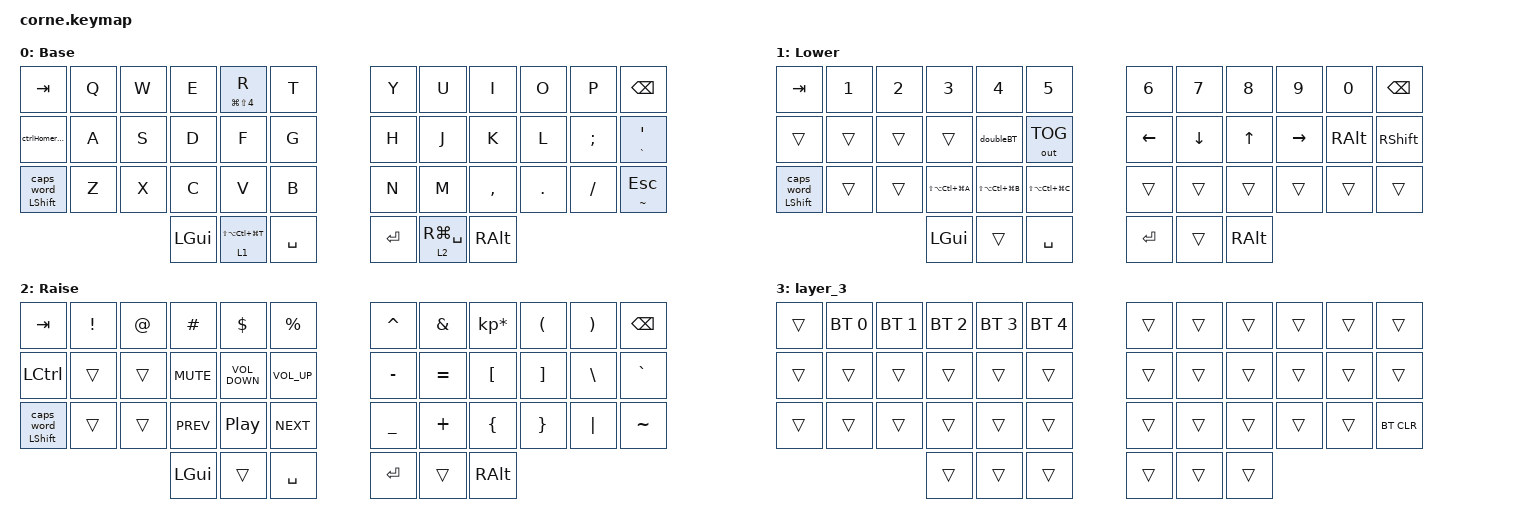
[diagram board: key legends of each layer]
/*
 * Copyright (c) 2020 The ZMK Contributors
 *
 * SPDX-License-Identifier: MIT
 */

#include <behaviors.dtsi>
#include <dt-bindings/zmk/bt.h>
#include <dt-bindings/zmk/keys.h>
#include <dt-bindings/zmk/outputs.h>

/ {
    combos {
        compatible = "zmk,combos";

        escape {
            bindings = <&kp ESCAPE>;
            key-positions = <19 20>;
        };

        telegram {
            bindings = <&kp LS(LA(LC(LG(E))))>;
            key-positions = <38 37>;
        };

        esc-left {
            bindings = <&kp ESC>;
            key-positions = <16 15>;
        };

        del_word {
            bindings = <&kp RA(BACKSPACE)>;
            key-positions = <18 19 20>;
        };

        backspace {
            bindings = <&kp BACKSPACE>;
            key-positions = <19 20 21>;
        };

        leftBLOCK {
            bindings = <&kp LEFT_BRACKET>;
            key-positions = <5 4>;
        };

        rightBrk {
            bindings = <&kp RIGHT_BRACKET>;
            key-positions = <6 7>;
        };

        leftPar {
            bindings = <&kp LEFT_PARENTHESIS>;
            key-positions = <16 17>;
        };

        rightPar {
            bindings = <&kp RPAR>;
            key-positions = <18 19>;
        };

        leftBrace {
            bindings = <&kp LEFT_BRACE>;
            key-positions = <28 29>;
        };

        rightBrace {
            bindings = <&kp RIGHT_BRACE>;
            key-positions = <30 31>;
        };
    };

    behaviors {
        moAndKp: moAndKp {
            compatible = "zmk,behavior-hold-tap";
            label = "MOANDKP";
            bindings = <&mo>, <&kp>;

            #binding-cells = <2>;
            tapping-term-ms = <120>;
        };

        kpAndCaps: kpAndCaps {
            compatible = "zmk,behavior-hold-tap";
            label = "KPANDCAPS";
            bindings = <&kp>, <&caps_word>;

            #binding-cells = <2>;
            tapping-term-ms = <120>;
        };

        kpAndKp: kpAndKp {
            compatible = "zmk,behavior-hold-tap";
            label = "KPANDKP";
            bindings = <&kp>, <&kp>;

            #binding-cells = <2>;
            tapping-term-ms = <120>;
        };

        kpAndKpLong: kpAndKpLong {
            compatible = "zmk,behavior-hold-tap";
            label = "KPANDKPLONG";
            bindings = <&kp>, <&kp>;

            #binding-cells = <2>;
            tapping-term-ms = <800>;
            flavor = "tap-preferred";
        };

        doubleBT: doubleBT {
            compatible = "zmk,behavior-tap-dance";
            label = "DOUBLEBT";
            #binding-cells = <0>;
            bindings = <&trans>, <&bt BT_CLR>;
        };

        ctrlHomerowEsc: ctrlHomerowEsc {
            compatible = "zmk,behavior-tap-dance";
            label = "CTRLHOMEROWESC";
            #binding-cells = <0>;
            bindings = <&kp LCTRL>, <&kp LS(LG(SPACE))>, <&gresc>;
        };

        holdOrTap: holdOrTap {
            compatible = "zmk,behavior-hold-tap";
            label = "HOLDORTAP";
            bindings = <&kp>, <&kp>;

            #binding-cells = <2>;
            flavor = "tap-preferred";
            tapping-term-ms = <200>;
        };
    };

    keymap {
        compatible = "zmk,keymap";

        default_layer {
            // -----------------------------------------------------------------------------------------
            // |  TAB |  Q  |  W  |  E  |  R  |  T  |   |  Y  |  U   |  I  |  O  |  P  | BKSP |
            // | CTRL |  A  |  S  |  D  |  F  |  G  |   |  H  |  J   |  K  |  L  |  ;  |  '   |
            // | SHFT |  Z  |  X  |  C  |  V  |  B  |   |  N  |  M   |  ,  |  .  |  /  | ESC  |
            //                    | GUI | LWR | SPC |   | ENT | RSE  | ALT |

            display-name = "Base";
            bindings = <
&kp TAB             &kp Q  &kp W  &kp E     &kpAndKpLong LG(LS(NUMBER_4)) R  &kp T        &kp Y    &kp U                 &kp I      &kp O    &kp P     &kp BSPC
&ctrlHomerowEsc     &kp A  &kp S  &kp D     &kp F                            &kp G        &kp H    &kp J                 &kp K      &kp L    &kp SEMI  &holdOrTap GRAVE SINGLE_QUOTE
&kpAndCaps LSHFT 0  &kp Z  &kp X  &kp C     &kp V                            &kp B        &kp N    &kp M                 &kp COMMA  &kp DOT  &kp FSLH  &holdOrTap TILDE ESCAPE
                                  &kp LGUI  &moAndKp 1 LS(LA(LC(LG(T))))     &kp SPACE    &kp RET  &moAndKp 2 RG(SPACE)  &kp RALT
            >;
        };

        lower_layer {
            // -----------------------------------------------------------------------------------------
            // |  TAB |  1  |  2  |  3  |  4  |  5  |   |  6  |  7  |  8  |  9  |  0  | BKSP |
            // | BTCLR| BT1 | BT2 | BT3 | BT4 | BTG |   | LFT | DWN |  UP | RGT |     |      |
            // | SHFT |     |     |     |     |     |   |     |     |     |     |     |      |
            //                    | GUI |     | SPC |   | ENT |     | ALT |

            display-name = "Lower";
            bindings = <
&kp TAB                  &kp N1  &kp N2  &kp N3                 &kp N4                 &kp N5                   &kp N6    &kp N7    &kp N8    &kp N9     &kp N0    &kp BSPC
&trans                   &trans  &trans  &trans                 &doubleBT              &out OUT_TOG             &kp LEFT  &kp DOWN  &kp UP    &kp RIGHT  &kp RALT  &kp RSHFT
&kpAndCaps LEFT_SHIFT 0  &trans  &trans  &kp LS(LA(LC(LG(A))))  &kp LS(LA(LC(LG(B))))  &kp LS(LA(LC(LG(C))))    &trans    &trans    &trans    &trans     &trans    &trans
                                         &kp LGUI               &trans                 &kp SPACE                &kp RET   &trans    &kp RALT
            >;
        };

        raise_layer {
            // -----------------------------------------------------------------------------------------
            // |  TAB |  !  |  @  |  #  |  $  |  %  |   |  ^  |  &  |  *  |  (  |  )  | BKSP |
            // | CTRL |     |     |     |     |     |   |  -  |  =  |  [  |  ]  |  \  |  `   |
            // | SHFT |     |     |     |     |     |   |  _  |  +  |  {  |  }  | "|" |  ~   |
            //                    | GUI |     | SPC |   | ENT |     | ALT |

            display-name = "Raise";
            bindings = <
&kp TAB              &kp EXCL  &kp AT  &kp HASH    &kp DLLR           &kp PRCNT       &kp CARET  &kp AMPS   &kp KP_MULTIPLY  &kp LPAR  &kp RPAR  &kp BSPC
&kp LCTRL            &trans    &trans  &kp K_MUTE  &kp K_VOLUME_DOWN  &kp K_VOL_UP    &kp MINUS  &kp EQUAL  &kp LBKT         &kp RBKT  &kp BSLH  &kp GRAVE
&kpAndCaps LSHIFT 0  &trans    &trans  &kp C_PREV  &kp C_PP           &kp C_NEXT      &kp UNDER  &kp PLUS   &kp LBRC         &kp RBRC  &kp PIPE  &kp TILDE
                                       &kp LGUI    &trans             &kp SPACE       &kp RET    &trans     &kp RALT
            >;
        };

        layer_3 {
            bindings = <
&trans  &bt BT_SEL 0  &bt BT_SEL 1  &bt BT_SEL 2  &bt BT_SEL 3  &bt BT_SEL 4    &trans  &trans  &trans  &trans  &trans  &trans
&trans  &trans        &trans        &trans        &trans        &trans          &trans  &trans  &trans  &trans  &trans  &trans
&trans  &trans        &trans        &trans        &trans        &trans          &trans  &trans  &trans  &trans  &trans  &bt BT_CLR
                                    &trans        &trans        &trans          &trans  &trans  &trans
            >;
        };
    };

    conditional_layers {
        compatible = "zmk,conditional-layers";

        double {
            if-layers = <1 2>;
            then-layer = <3>;
        };
    };
};
